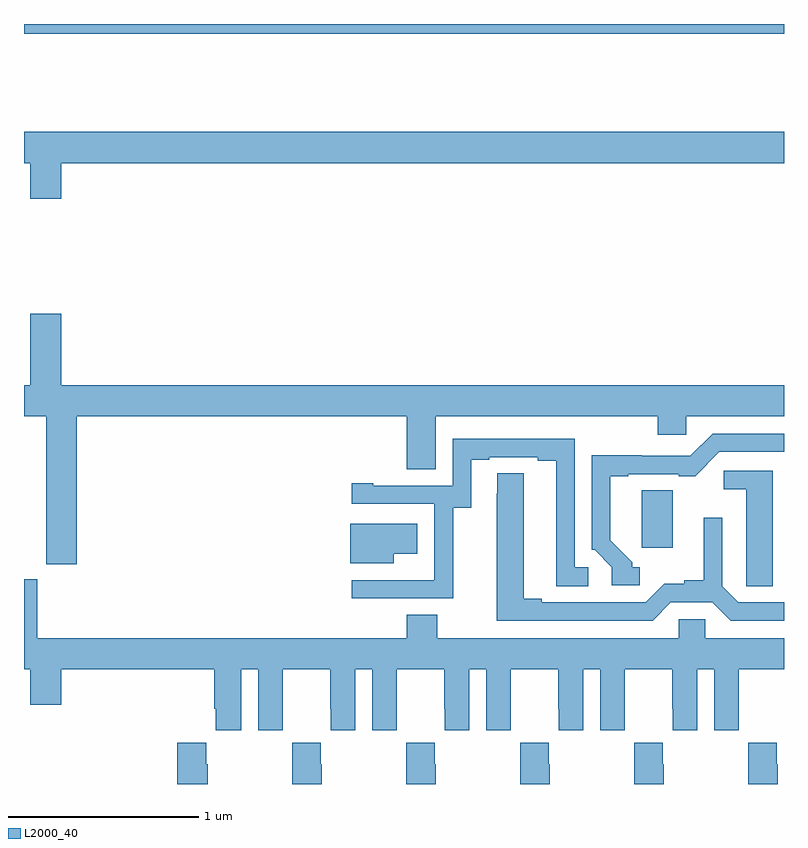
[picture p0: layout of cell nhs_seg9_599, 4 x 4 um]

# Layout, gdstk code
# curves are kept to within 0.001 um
import gdstk
lib = gdstk.Library(unit=1e-6, precision=1e-09)
def R(c, l, rs):  # rectangles x0, y0, x1, y1
    for r in rs: c.add(gdstk.rectangle(r[:2], r[2:], *l))
def P(c, l, *ps):  # polygons
    for p in ps: c.add(gdstk.Polygon(p, *l))
L2000_40 = (2000, 40)

nhs_seg9_599 = lib.new_cell('nhs_seg9_599')
R(nhs_seg9_599, L2000_40, [(141,1182.448,145,1182.5)])
P(nhs_seg9_599, L2000_40, [(141.196,1181.768),(145,1181.768),(145,1181.932),(141,1181.932),(141,1181.768),(141.032,1181.768),(141.032,1181.58),(141.196,1181.58)],
  [(141.032,1180.6),(141,1180.6),(141,1180.436),(141.118,1180.436),(141.118,1179.657),(141.278,1179.657),(141.278,1180.436),(143.015,1180.436),(143.015,1180.156),(143.167,1180.156),(143.167,1180.436),(144.335,1180.436),(144.335,1180.338),(144.486,1180.338),(144.486,1180.436),(145,1180.436),(145,1180.6),(141.196,1180.6),(141.196,1180.975),(141.032,1180.975)],
  [(144.241,1179.642),(144.202,1179.642),(144.202,1179.666),(144.085,1179.782),(144.085,1180.119),(144.181,1180.119),(144.181,1180.131),(144.446,1180.131),(144.446,1180.12),(144.532,1180.12),(144.66,1180.248),(145,1180.248),(145,1180.344),(144.624,1180.344),(144.507,1180.227),(144.251,1180.227),(144.251,1180.229),(143.988,1180.229),(143.988,1179.732),(144.003,1179.732),(144.093,1179.642),(144.093,1179.546),(144.241,1179.546)],
  [(143.259,1179.955),(143.353,1179.955),(143.353,1180.206),(143.449,1180.206),(143.449,1180.221),(143.705,1180.221),(143.705,1180.201),(143.801,1180.201),(143.801,1179.541),(143.971,1179.541),(143.971,1179.642),(143.898,1179.642),(143.898,1180.317),(143.256,1180.317),(143.256,1180.071),(142.837,1180.071),(142.837,1180.084),(142.725,1180.084),(142.725,1179.975),(143.16,1179.975),(143.16,1179.574),(143.159,1179.574),(143.159,1179.573),(142.725,1179.573),(142.725,1179.477),(143.259,1179.477)],
  [(144.94,1180.149),(144.684,1180.149),(144.684,1180.052),(144.8,1180.052),(144.8,1179.649),(144.801,1179.649),(144.801,1179.541),(144.94,1179.541)],
  [(144.405,1179.456),(144.623,1179.456),(144.719,1179.36),(145,1179.36),(145,1179.456),(144.759,1179.456),(144.675,1179.54),(144.675,1179.901),(144.578,1179.901),(144.578,1179.572),(144.474,1179.572),(144.474,1179.554),(144.371,1179.554),(144.273,1179.456),(143.725,1179.456),(143.725,1179.476),(143.629,1179.476),(143.629,1180.136),(143.49,1180.136),(143.489,1179.36),(144.309,1179.36)],
  [(144.415,1179.888),(144.414,1179.888),(144.414,1180.046),(144.251,1180.046),(144.251,1179.744),(144.415,1179.744)],
  [(142.945,1179.713),(143.071,1179.713),(143.071,1179.871),(142.718,1179.871),(142.718,1179.662),(142.945,1179.662)],
  [(142.144,1179.104),(142.232,1179.104),(142.232,1178.784),(142.362,1178.784),(142.362,1178.896),(142.363,1178.896),(142.363,1179.104),(142.613,1179.104),(142.613,1178.896),(142.614,1178.896),(142.614,1178.784),(142.744,1178.784),(142.744,1179.104),(142.832,1179.104),(142.832,1178.784),(142.962,1178.784),(142.962,1178.896),(142.963,1178.896),(142.963,1179.104),(143.213,1179.104),(143.213,1178.896),(143.214,1178.896),(143.214,1178.784),(143.344,1178.784),(143.344,1179.104),(143.432,1179.104),(143.432,1178.784),(143.562,1178.784),(143.562,1178.896),(143.563,1178.896),(143.563,1179.104),(143.813,1179.104),(143.813,1178.896),(143.814,1178.896),(143.814,1178.784),(143.944,1178.784),(143.944,1179.104),(144.032,1179.104),(144.032,1178.784),(144.162,1178.784),(144.162,1178.896),(144.163,1178.896),(144.163,1179.104),(144.413,1179.104),(144.413,1178.896),(144.414,1178.896),(144.414,1178.784),(144.544,1178.784),(144.544,1179.104),(144.632,1179.104),(144.632,1178.784),(144.762,1178.784),(144.762,1178.896),(144.763,1178.896),(144.763,1179.104),(145,1179.104),(145,1179.268),(144.585,1179.268),(144.585,1179.366),(144.447,1179.366),(144.447,1179.268),(143.175,1179.268),(143.175,1179.392),(143.015,1179.392),(143.015,1179.268),(141.07,1179.268),(141.07,1179.577),(141,1179.577),(141,1179.104),(141.032,1179.104),(141.032,1178.916),(141.196,1178.916),(141.196,1179.104),(142.001,1179.104),(142.001,1178.896),(142.01,1178.896),(142.01,1178.784),(142.144,1178.784)],
  [(144.966,1178.603),(144.963,1178.603),(144.963,1178.716),(144.813,1178.716),(144.813,1178.603),(144.811,1178.603),(144.811,1178.5),(144.966,1178.5)],
  [(144.366,1178.603),(144.363,1178.603),(144.363,1178.716),(144.213,1178.716),(144.213,1178.603),(144.211,1178.603),(144.211,1178.5),(144.366,1178.5)],
  [(143.766,1178.603),(143.763,1178.603),(143.763,1178.716),(143.613,1178.716),(143.613,1178.603),(143.611,1178.603),(143.611,1178.5),(143.766,1178.5)],
  [(143.166,1178.603),(143.163,1178.603),(143.163,1178.716),(143.013,1178.716),(143.013,1178.603),(143.011,1178.603),(143.011,1178.5),(143.166,1178.5)],
  [(142.566,1178.603),(142.563,1178.603),(142.563,1178.716),(142.413,1178.716),(142.413,1178.603),(142.411,1178.603),(142.411,1178.5),(142.566,1178.5)],
  [(141.966,1178.603),(141.959,1178.603),(141.959,1178.716),(141.806,1178.716),(141.806,1178.5),(141.966,1178.5)])

lib.write_gds('nhs_seg9_599.gds')
